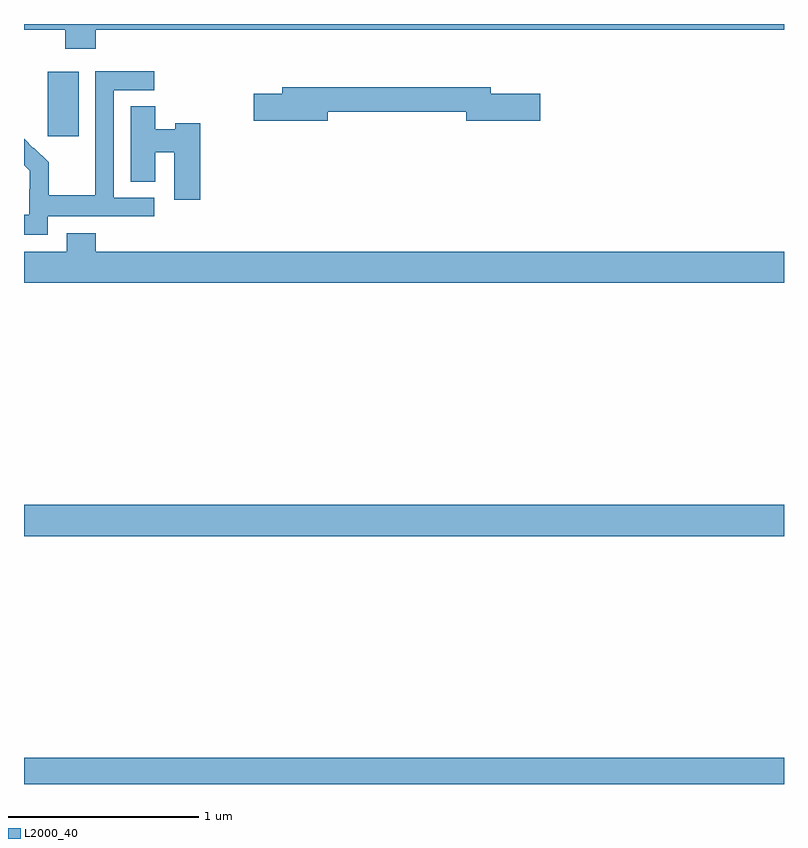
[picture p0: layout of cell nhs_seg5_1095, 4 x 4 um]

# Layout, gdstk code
import gdstk
lib = gdstk.Library(unit=1e-6, precision=1e-09)
def R(c, l, rs):  # rectangles x0, y0, x1, y1
    for r in rs: c.add(gdstk.rectangle(r[:2], r[2:], *l))
def P(c, l, *ps):  # polygons
    for p in ps: c.add(gdstk.Polygon(p, *l))
L2000_40 = (2000, 40)

nhs_seg5_1095 = lib.new_cell('nhs_seg5_1095')
R(nhs_seg5_1095, L2000_40, [(179,844.799,183,844.936), (179,846.104,183,846.268), (179.126,848.208,179.287,848.548)])
P(nhs_seg5_1095, L2000_40, [(179.378,848.768),(183,848.768),(183,848.799),(179,848.799),(179,848.768),(179.218,848.768),(179.218,848.669),(179.378,848.669)],
  [(179.124,847.788),(179.686,847.788),(179.686,847.884),(179.472,847.884),(179.472,848.451),(179.686,848.451),(179.686,848.55),(179.376,848.55),(179.376,848.12),(179.374,848.12),(179.374,847.897),(179.129,847.897),(179.129,848.071),(179.052,848.148),(179.049,848.145),(179,848.195),(179,848.056),(179.03,848.026),(179.03,847.929),(179.028,847.929),(179.028,847.795),(179,847.795),(179,847.691),(179.124,847.691)],
  [(180.598,848.338),(181.328,848.338),(181.328,848.291),(181.717,848.291),(181.717,848.433),(181.456,848.433),(181.456,848.467),(180.359,848.467),(180.359,848.433),(180.21,848.433),(180.21,848.291),(180.598,848.291)],
  [(179.927,848.276),(179.796,848.276),(179.796,848.245),(179.692,848.245),(179.692,848.366),(179.561,848.366),(179.561,847.969),(179.692,847.969),(179.692,848.123),(179.792,848.123),(179.792,847.875),(179.927,847.875)],
  [(183,847.6),(179.378,847.6),(179.378,847.699),(179.225,847.699),(179.225,847.6),(179,847.6),(179,847.436),(183,847.436)])

lib.write_gds('nhs_seg5_1095.gds')
